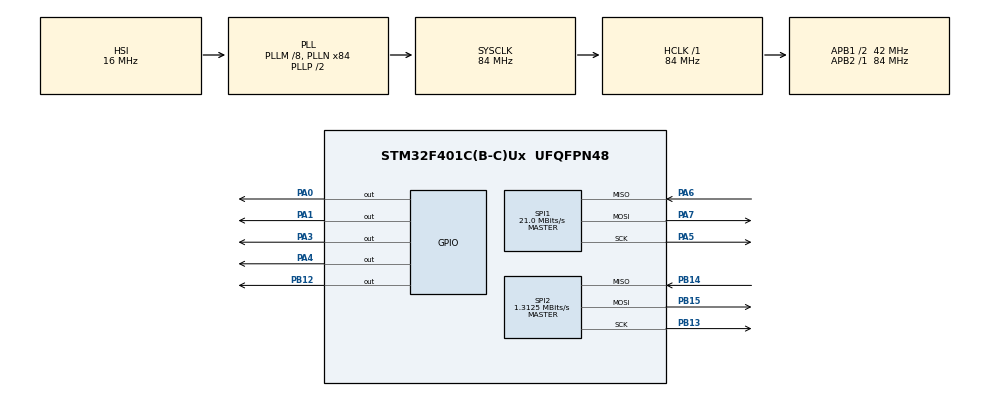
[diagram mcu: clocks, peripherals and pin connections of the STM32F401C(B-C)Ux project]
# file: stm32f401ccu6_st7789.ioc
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Dma.Request0=SPI1_TX
Dma.SPI1_TX.0.Direction=DMA_MEMORY_TO_PERIPH
Dma.SPI1_TX.0.FIFOMode=DMA_FIFOMODE_DISABLE
Dma.SPI1_TX.0.Instance=DMA2_Stream3
Dma.SPI1_TX.0.MemDataAlignment=DMA_MDATAALIGN_BYTE
Dma.SPI1_TX.0.MemInc=DMA_MINC_ENABLE
Dma.SPI1_TX.0.Mode=DMA_NORMAL
Dma.SPI1_TX.0.PeriphDataAlignment=DMA_PDATAALIGN_BYTE
Dma.SPI1_TX.0.PeriphInc=DMA_PINC_DISABLE
Dma.SPI1_TX.0.Priority=DMA_PRIORITY_HIGH
FATFS._USE_LFN=1
Mcu.Family=STM32F4
Mcu.Name=STM32F401C(B-C)Ux
Mcu.Package=UFQFPN48
NVIC.DMA2_Stream3_IRQn=true\:0\:0\:false\:false\:true\:false\:true\:true
NVIC.PriorityGroup=NVIC_PRIORITYGROUP_4
PA0-WKUP.Signal=GPIO_Output
PA1.Signal=GPIO_Output
PA13.Mode=Serial_Wire
PA13.Signal=SYS_JTMS-SWDIO
PA14.Mode=Serial_Wire
PA14.Signal=SYS_JTCK-SWCLK
PA3.Signal=GPIO_Output
PA4.Signal=GPIO_Output
PA5.Mode=Full_Duplex_Master
PA5.Signal=SPI1_SCK
PA6.Mode=Full_Duplex_Master
PA6.Signal=SPI1_MISO
PA7.Mode=Full_Duplex_Master
PA7.Signal=SPI1_MOSI
PB12.PinState=GPIO_PIN_SET
PB12.Signal=GPIO_Output
PB13.GPIO_Speed=GPIO_SPEED_FREQ_MEDIUM
PB13.Mode=Full_Duplex_Master
PB13.Signal=SPI2_SCK
PB14.GPIO_PuPd=GPIO_PULLUP
PB14.GPIO_Speed=GPIO_SPEED_FREQ_MEDIUM
PB14.Mode=Full_Duplex_Master
PB14.Signal=SPI2_MISO
PB15.GPIO_Speed=GPIO_SPEED_FREQ_MEDIUM
PB15.Mode=Full_Duplex_Master
PB15.Signal=SPI2_MOSI
PH0\ -\ OSC_IN.Mode=HSE-External-Oscillator
PH0\ -\ OSC_IN.Signal=RCC_OSC_IN
PH1\ -\ OSC_OUT.Mode=HSE-External-Oscillator
PH1\ -\ OSC_OUT.Signal=RCC_OSC_OUT
ProjectManager.HeapSize=0x200
ProjectManager.StackSize=0x400
ProjectManager.TargetToolchain=STM32CubeIDE
RCC.48MHZClocksFreq_Value=42000000
RCC.AHBFreq_Value=84000000
RCC.APB1CLKDivider=RCC_HCLK_DIV2
RCC.APB1Freq_Value=42000000
RCC.APB1TimFreq_Value=84000000
RCC.APB2Freq_Value=84000000
RCC.APB2TimFreq_Value=84000000
RCC.CortexFreq_Value=84000000
RCC.HCLKFreq_Value=84000000
RCC.HSE_VALUE=25000000
RCC.HSI_VALUE=16000000
RCC.LSE_VALUE=32768
RCC.PLLM=8
RCC.PLLN=84
RCC.SYSCLKFreq_VALUE=84000000
RCC.SYSCLKSource=RCC_SYSCLKSOURCE_PLLCLK
RCC.VCOOutputFreq_Value=168000000
SPI1.BaudRatePrescaler=SPI_BAUDRATEPRESCALER_4
SPI1.CLKPhase=SPI_PHASE_2EDGE
SPI1.CLKPolarity=SPI_POLARITY_HIGH
SPI1.CalculateBaudRate=21.0 MBits/s
SPI1.Direction=SPI_DIRECTION_2LINES
SPI1.Mode=SPI_MODE_MASTER
SPI1.VirtualType=VM_MASTER
SPI2.BaudRatePrescaler=SPI_BAUDRATEPRESCALER_32
SPI2.CLKPhase=SPI_PHASE_1EDGE
SPI2.CalculateBaudRate=1.3125 MBits/s
SPI2.Direction=SPI_DIRECTION_2LINES
SPI2.Mode=SPI_MODE_MASTER
SPI2.VirtualType=VM_MASTER
VP_FATFS_VS_Generic.Mode=User_defined
board=custom

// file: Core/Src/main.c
/* USER CODE BEGIN Header */
/**
  ******************************************************************************
  * @file           : main.c
  * @brief          : Main program body
  ******************************************************************************
  * @attention
  *
  * Copyright (c) 2026 STMicroelectronics.
  * All rights reserved.
  *
  * This software is licensed under terms that can be found in the LICENSE file
  * in the root directory of this software component.
  * If no LICENSE file comes with this software, it is provided AS-IS.
  *
  ******************************************************************************
  */
/* USER CODE END Header */
#include "main.h"
#include "fatfs.h"

/* USER CODE BEGIN Includes */
#include "ST7789.h"
#include "fonts.h"
#include <math.h>
#include <stdio.h>
/* USER CODE END Includes */

SPI_HandleTypeDef hspi1;
SPI_HandleTypeDef hspi2;
DMA_HandleTypeDef hdma_spi1_tx;

void SystemClock_Config(void);
static void MX_GPIO_Init(void);
static void MX_DMA_Init(void);
static void MX_SPI1_Init(void);
static void MX_SPI2_Init(void);

/* USER CODE BEGIN 0 */
//void DrawImageFromSD(const char* filename) {
//    FIL fil;
//    FRESULT res;
//    UINT br;
//    static uint16_t line_buf[240];
//
//    res = f_open(&fil, filename, FA_READ);
//    if (res == FR_OK) {
//        for (int y = 0; y < 240; y++) {
//            res = f_read(&fil, line_buf, 480, &br);
//            if (res != FR_OK || br < 480) break;
//
//            // На F401 это работает в 10 раз быстрее, чем сдвиги байтов вручную
//            for (int i = 0; i < 240; i++) {
//                line_buf[i] = __REV16(line_buf[i]);
//            }
//
//            ST7789_DrawImage(0, y, 240, 1, line_buf);
//        }
//        f_close(&fil);
//    } else {
//        ST7789_print(10, 10, RGB565(255, 0, 0), 0, 1, &Font_7x9, 1, "OPEN ERR");
//    }
//}

/* USER CODE BEGIN 0 */
// Функция отправки КОМАНДЫ на дисплей
static void ST7789_WriteCommand(uint8_t cmd) {
    HAL_GPIO_WritePin(GPIOA, GPIO_PIN_1, GPIO_PIN_RESET); // DC = 0 (Команда)
    HAL_SPI_Transmit(&hspi1, &cmd, 1, 10);
}

// Функция установки ОБЛАСТИ рисования (Окна)
static void ST7789_SetWindow_Fast(uint16_t x1, uint16_t y1, uint16_t x2, uint16_t y2) {
    uint8_t data[4];

    ST7789_WriteCommand(0x2A); // CASET: Столбцы (X)
    data[0] = x1 >> 8; data[1] = x1 & 0xFF;
    data[2] = x2 >> 8; data[3] = x2 & 0xFF;
    HAL_GPIO_WritePin(GPIOA, GPIO_PIN_1, GPIO_PIN_SET); // DC = 1 (Данные)
    HAL_SPI_Transmit(&hspi1, data, 4, 10);

    ST7789_WriteCommand(0x2B); // RASET: Строки (Y)
    data[0] = y1 >> 8; data[1] = y1 & 0xFF;
    data[2] = y2 >> 8; data[3] = y2 & 0xFF;
    HAL_GPIO_WritePin(GPIOA, GPIO_PIN_1, GPIO_PIN_SET); // DC = 1 (Данные)
    HAL_SPI_Transmit(&hspi1, data, 4, 10);

    ST7789_WriteCommand(0x2C); // RAMWR: Команда "Приготовиться принимать пиксели"
}

// Буфер для чтения одной строки 24-битного BMP (240 пикселей * 3 байта = 720 байт)
static uint8_t bmp_line_buf[720];
// Буфер для отправки на дисплей (240 пикселей * 2 байта = 480 байт)
static uint16_t display_line_buf[240];

void DrawImageFromSD(const char* filename) {
    FIL fil;
    FRESULT res;
    UINT br;

    res = f_open(&fil, filename, FA_READ);
    if (res == FR_OK) {

        // Пропускаем заголовок BMP
        f_lseek(&fil, 54);

        // Рисуем СНИЗУ ВВЕРХ, так как BMP хранит строки перевернутыми!
        for (int y = 239; y >= 0; y--) {
            // Читаем одну строку 24-битного цвета (720 байт)
            res = f_read(&fil, bmp_line_buf, 720, &br);
            if (res != FR_OK || br < 720) break;

            // Конвертируем 24 бита (BGR) в 16 бит (RGB565) для дисплея
            int b_idx = 0;
            for (int x = 0; x < 240; x++) {
                uint8_t b = bmp_line_buf[b_idx++];
                uint8_t g = bmp_line_buf[b_idx++];
                uint8_t r = bmp_line_buf[b_idx++];

                // Собираем RGB565 пиксель
                uint16_t pixel = ((r & 0xF8) << 8) | ((g & 0xFC) << 3) | (b >> 3);

                // Переворачиваем байты для ST7789
                display_line_buf[x] = (pixel << 8) | (pixel >> 8);
            }

            // Выводим готовую строку на её законное место по координате Y
            ST7789_DrawImage(0, y, 240, 1, display_line_buf);
        }
        f_close(&fil);
    } else {
        char err_buf[20];
        sprintf(err_buf, "OPEN ERR: %d", (int)res);
        ST7789_print(10, 10, RGB565(255, 0, 0), 0, 1, &Font_7x9, 2, err_buf);
    }
}

/* USER CODE END 0 */

int main(void)
{

  /* MCU Configuration--------------------------------------------------------*/

  /* Reset of all peripherals, Initializes the Flash interface and the Systick. */
  HAL_Init();

  /* Configure the system clock */
  SystemClock_Config();

  /* Initialize all configured peripherals */
  MX_GPIO_Init();
  MX_DMA_Init();
  MX_SPI1_Init();
  MX_SPI2_Init();
  MX_FATFS_Init();
  /* USER CODE BEGIN 2 */
  // 1. Включаем подсветку
    HAL_GPIO_WritePin(GPIOA, GPIO_PIN_2, GPIO_PIN_SET);
    HAL_GPIO_WritePin(GPIOA, GPIO_PIN_3, GPIO_PIN_SET);

    // 2. Инициализация дисплея
    ST7789_Init();
    ST7789_rotation(1);
    ST7789_FillScreen(RGB565(0, 0, 0));

    HAL_Delay(500);

    FRESULT res;
    FATFS SDFatFS;
    char buf[20]; // Буфер для текста ошибки
    __HAL_SPI_DISABLE(&hspi2);
    HAL_Delay(10);
    __HAL_SPI_ENABLE(&hspi2);

    res = f_mount(&SDFatFS, "", 1);
    // 3. Монтируем карту
    res = f_mount(&SDFatFS, "", 1);

    if(res == FR_OK) {
        ST7789_print(10, 110, RGB565(0, 255, 0), 0, 1, &Font_7x9, 2, "SD MOUNT OK!");
        HAL_Delay(1000);
        ST7789_FillScreen(RGB565(0, 0, 0));
        DrawImageFromSD("CHI.BMP");
    } else {
        ST7789_FillScreen(RGB565(0, 0, 0));

        // Выводим конкретный номер ошибки
        sprintf(buf, "SD ERROR: %d", (int)res);
        ST7789_print(10, 110, RGB565(255, 0, 0), 0, 1, &Font_7x9, 2, buf);
    }
  /* USER CODE END 2 */

  /* Infinite loop */
  while (1)
  {

  }
}

void SystemClock_Config(void)
{
  RCC_OscInitTypeDef RCC_OscInitStruct = {0};
  RCC_ClkInitTypeDef RCC_ClkInitStruct = {0};

  /** Configure the main internal regulator output voltage
  */
  __HAL_RCC_PWR_CLK_ENABLE();
  __HAL_PWR_VOLTAGESCALING_CONFIG(PWR_REGULATOR_VOLTAGE_SCALE2);

  /** Initializes the RCC Oscillators according to the specified parameters
  * in the RCC_OscInitTypeDef structure.
  */
  RCC_OscInitStruct.OscillatorType = RCC_OSCILLATORTYPE_HSI;
  RCC_OscInitStruct.HSIState = RCC_HSI_ON;
  RCC_OscInitStruct.HSICalibrationValue = RCC_HSICALIBRATION_DEFAULT;
  RCC_OscInitStruct.PLL.PLLState = RCC_PLL_ON;
  RCC_OscInitStruct.PLL.PLLSource = RCC_PLLSOURCE_HSI;
  RCC_OscInitStruct.PLL.PLLM = 8;
  RCC_OscInitStruct.PLL.PLLN = 84;
  RCC_OscInitStruct.PLL.PLLP = RCC_PLLP_DIV2;
  RCC_OscInitStruct.PLL.PLLQ = 4;
  if (HAL_RCC_OscConfig(&RCC_OscInitStruct) != HAL_OK)
  {
    Error_Handler();
  }

  /** Initializes the CPU, AHB and APB buses clocks
  */
  RCC_ClkInitStruct.ClockType = RCC_CLOCKTYPE_HCLK|RCC_CLOCKTYPE_SYSCLK
                              |RCC_CLOCKTYPE_PCLK1|RCC_CLOCKTYPE_PCLK2;
  RCC_ClkInitStruct.SYSCLKSource = RCC_SYSCLKSOURCE_PLLCLK;
  RCC_ClkInitStruct.AHBCLKDivider = RCC_SYSCLK_DIV1;
  RCC_ClkInitStruct.APB1CLKDivider = RCC_HCLK_DIV2;
  RCC_ClkInitStruct.APB2CLKDivider = RCC_HCLK_DIV1;

  if (HAL_RCC_ClockConfig(&RCC_ClkInitStruct, FLASH_LATENCY_2) != HAL_OK)
  {
    Error_Handler();
  }
}

static void MX_SPI1_Init(void)
{

  /* SPI1 parameter configuration*/
  hspi1.Instance = SPI1;
  hspi1.Init.Mode = SPI_MODE_MASTER;
  hspi1.Init.Direction = SPI_DIRECTION_2LINES;
  hspi1.Init.DataSize = SPI_DATASIZE_8BIT;
  hspi1.Init.CLKPolarity = SPI_POLARITY_HIGH;
  hspi1.Init.CLKPhase = SPI_PHASE_2EDGE;
  hspi1.Init.NSS = SPI_NSS_SOFT;
  hspi1.Init.BaudRatePrescaler = SPI_BAUDRATEPRESCALER_4;
  hspi1.Init.FirstBit = SPI_FIRSTBIT_MSB;
  hspi1.Init.TIMode = SPI_TIMODE_DISABLE;
  hspi1.Init.CRCCalculation = SPI_CRCCALCULATION_DISABLE;
  hspi1.Init.CRCPolynomial = 10;
  if (HAL_SPI_Init(&hspi1) != HAL_OK)
  {
    Error_Handler();
  }

}

static void MX_SPI2_Init(void)
{

  /* SPI2 parameter configuration*/
  hspi2.Instance = SPI2;
  hspi2.Init.Mode = SPI_MODE_MASTER;
  hspi2.Init.Direction = SPI_DIRECTION_2LINES;
  hspi2.Init.DataSize = SPI_DATASIZE_8BIT;
  hspi2.Init.CLKPolarity = SPI_POLARITY_LOW;
  hspi2.Init.CLKPhase = SPI_PHASE_1EDGE;
  hspi2.Init.NSS = SPI_NSS_SOFT;
  hspi2.Init.BaudRatePrescaler = SPI_BAUDRATEPRESCALER_32;
  hspi2.Init.FirstBit = SPI_FIRSTBIT_MSB;
  hspi2.Init.TIMode = SPI_TIMODE_DISABLE;
  hspi2.Init.CRCCalculation = SPI_CRCCALCULATION_DISABLE;
  hspi2.Init.CRCPolynomial = 10;
  if (HAL_SPI_Init(&hspi2) != HAL_OK)
  {
    Error_Handler();
  }

}

static void MX_DMA_Init(void)
{

  /* DMA controller clock enable */
  __HAL_RCC_DMA2_CLK_ENABLE();

  /* DMA interrupt init */
  /* DMA2_Stream3_IRQn interrupt configuration */
  HAL_NVIC_SetPriority(DMA2_Stream3_IRQn, 0, 0);
  HAL_NVIC_EnableIRQ(DMA2_Stream3_IRQn);

}

static void MX_GPIO_Init(void)
{
  GPIO_InitTypeDef GPIO_InitStruct = {0};

  /* GPIO Ports Clock Enable */
  __HAL_RCC_GPIOH_CLK_ENABLE();
  __HAL_RCC_GPIOA_CLK_ENABLE();
  __HAL_RCC_GPIOB_CLK_ENABLE();

  /*Configure GPIO pin Output Level */
  HAL_GPIO_WritePin(GPIOA, GPIO_PIN_0|GPIO_PIN_1|GPIO_PIN_3|GPIO_PIN_4, GPIO_PIN_RESET);

  /*Configure GPIO pin Output Level */
  HAL_GPIO_WritePin(GPIOB, GPIO_PIN_12, GPIO_PIN_SET);

  /*Configure GPIO pins : PA0 PA1 PA3 PA4 */
  GPIO_InitStruct.Pin = GPIO_PIN_0|GPIO_PIN_1|GPIO_PIN_3|GPIO_PIN_4;
  GPIO_InitStruct.Mode = GPIO_MODE_OUTPUT_PP;
  GPIO_InitStruct.Pull = GPIO_NOPULL;
  GPIO_InitStruct.Speed = GPIO_SPEED_FREQ_LOW;
  HAL_GPIO_Init(GPIOA, &GPIO_InitStruct);

  /*Configure GPIO pin : PB12 */
  GPIO_InitStruct.Pin = GPIO_PIN_12;
  GPIO_InitStruct.Mode = GPIO_MODE_OUTPUT_PP;
  GPIO_InitStruct.Pull = GPIO_NOPULL;
  GPIO_InitStruct.Speed = GPIO_SPEED_FREQ_LOW;
  HAL_GPIO_Init(GPIOB, &GPIO_InitStruct);

}

void Error_Handler(void)
{
  __disable_irq();
  while (1)
  {
  }
}
